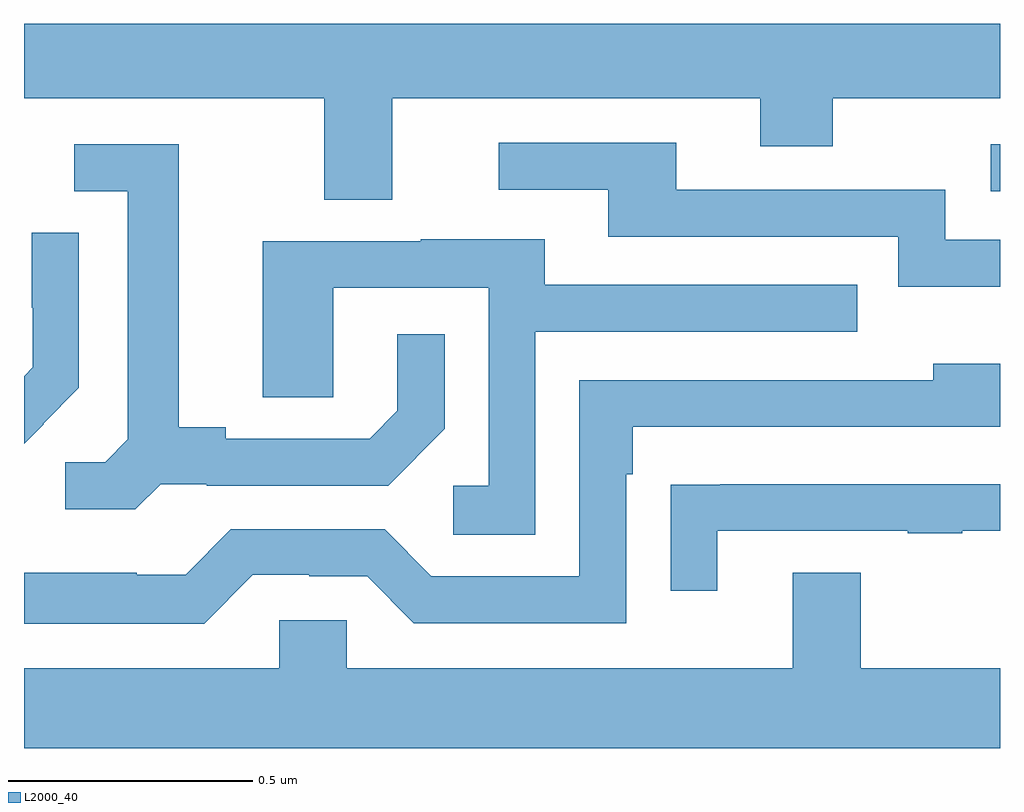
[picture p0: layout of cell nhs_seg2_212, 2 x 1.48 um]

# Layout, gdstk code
import gdstk
lib = gdstk.Library(unit=1e-6, precision=1e-09)
def R(c, l, rs):  # rectangles x0, y0, x1, y1
    for r in rs: c.add(gdstk.rectangle(r[:2], r[2:], *l))
def P(c, l, *ps):  # polygons
    for p in ps: c.add(gdstk.Polygon(p, *l))
L2000_40 = (2000, 40)

nhs_seg2_212 = lib.new_cell('nhs_seg2_212')
R(nhs_seg2_212, L2000_40, [(114.981,635.457,115,635.553)])
P(nhs_seg2_212, L2000_40, [(113.755,635.648),(114.509,635.648),(114.509,635.549),(114.657,635.549),(114.657,635.648),(115,635.648),(115,635.8),(113,635.8),(113,635.648),(113.615,635.648),(113.615,635.44),(113.755,635.44)],
  [(115,635.358),(114.888,635.358),(114.888,635.46),(114.337,635.46),(114.337,635.556),(113.973,635.556),(113.973,635.46),(114.197,635.46),(114.197,635.364),(114.792,635.364),(114.792,635.261),(115,635.261)],
  [(113.28,634.857),(113.374,634.857),(113.374,634.854),(113.746,634.854),(113.862,634.97),(113.862,635.164),(113.765,635.164),(113.765,635.007),(113.708,634.95),(113.413,634.95),(113.413,634.973),(113.317,634.973),(113.317,635.553),(113.103,635.553),(113.103,635.457),(113.213,635.457),(113.213,634.949),(113.166,634.902),(113.085,634.902),(113.085,634.805),(113.228,634.805)],
  [(113.04,634.98),(113.039,634.981),(113.112,635.054),(113.112,635.372),(113.016,635.372),(113.016,635.218),(113.018,635.218),(113.018,635.096),(113,635.078),(113,634.94)],
  [(114.048,635.169),(114.707,635.169),(114.707,635.265),(114.067,635.265),(114.067,635.359),(113.813,635.359),(113.813,635.355),(113.489,635.355),(113.489,635.035),(113.634,635.035),(113.634,635.259),(113.952,635.259),(113.952,634.854),(113.88,634.854),(113.88,634.753),(114.048,634.753)],
  [(113.469,634.671),(113.585,634.671),(113.585,634.668),(113.703,634.668),(113.799,634.572),(114.234,634.572),(114.234,634.877),(114.247,634.877),(114.247,634.974),(115,634.974),(115,635.104),(114.863,635.104),(114.863,635.07),(114.138,635.07),(114.138,634.668),(113.835,634.668),(113.739,634.764),(113.424,634.764),(113.331,634.671),(113.231,634.671),(113.231,634.675),(113,634.675),(113,634.571),(113.369,634.571)],
  [(114.421,634.761),(114.811,634.761),(114.811,634.756),(114.923,634.756),(114.923,634.761),(115,634.761),(115,634.857),(114.427,634.857),(114.427,634.856),(114.325,634.856),(114.325,634.638),(114.421,634.638)],
  [(115,634.48),(114.715,634.48),(114.715,634.675),(114.575,634.675),(114.575,634.48),(113.661,634.48),(113.661,634.578),(113.523,634.578),(113.523,634.48),(113,634.48),(113,634.316),(115,634.316)])

lib.write_gds('nhs_seg2_212.gds')
